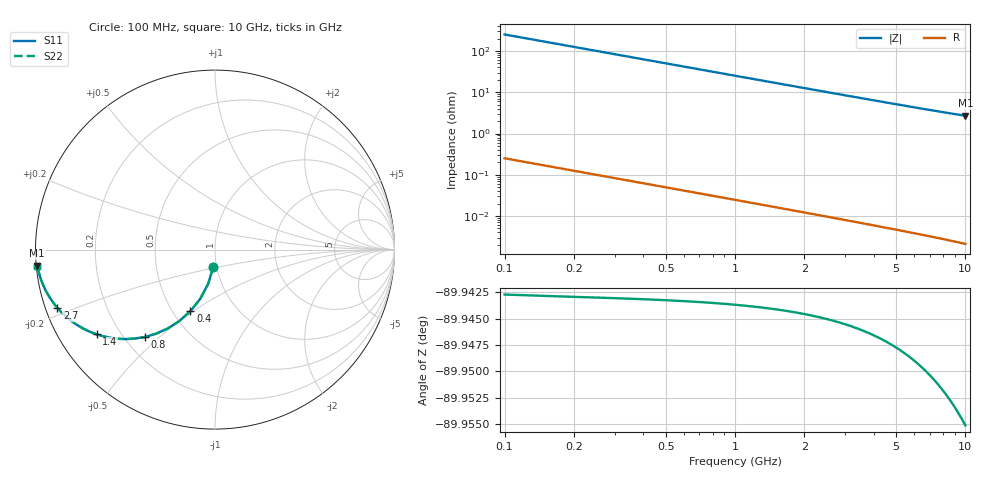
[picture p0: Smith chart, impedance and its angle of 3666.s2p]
# Hz S RI R 50.00
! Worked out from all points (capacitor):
!   100 points, 100 MHz to 10 GHz, reference 50 ohm
!   read as one part in shunt: C = 6.34 pF near 100 MHz
!   lowest |Z| = 2.69 ohm at 10 GHz (marker M1)
!   S11 on the Smith chart (normalised r, x): 100 MHz: 0.96, -0.19; 400 MHz: 0.61, -0.49; 800 MHz: 0.28, -0.45; 1.4 GHz: 0.11, -0.32; 2.7 GHz: 0.03, -0.18; 10 GHz: 0.00, -0.04
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1e8  -0.0099 -0.0985  0.9901 -0.0987  0.9901 -0.0987  -0.0099 -0.0985
2e8  -0.0383 -0.1914  0.9616 -0.1917  0.9616 -0.1917  -0.0383 -0.1914
3e8  -0.0822 -0.2739  0.9178 -0.2744  0.9178 -0.2744  -0.0822 -0.2739
4e8  -0.1372 -0.3432  0.8628 -0.3439  0.8628 -0.3439  -0.1372 -0.3432
5e8  -0.1989 -0.3983  0.8011 -0.3991  0.8011 -0.3991  -0.1989 -0.3983
6e8  -0.2632 -0.4394  0.7367 -0.4404  0.7367 -0.4404  -0.2632 -0.4394
7e8  -0.3271 -0.4681  0.6729 -0.4692  0.6729 -0.4692  -0.3271 -0.4681
8e8  -0.3882 -0.4862  0.6117 -0.4875  0.6117 -0.4875  -0.3882 -0.4862
9e8  -0.4453 -0.4957  0.5546 -0.4973  0.5546 -0.4973  -0.4453 -0.4957
1.1e9  -0.5451 -0.4965  0.4548 -0.4984  0.4548 -0.4984  -0.5451 -0.4965
1.2e9  -0.5877 -0.4907  0.4122 -0.4927  0.4122 -0.4927  -0.5877 -0.4907
1.4e9  -0.6597 -0.4721  0.3402 -0.4745  0.3402 -0.4745  -0.6597 -0.4721
1.6e9  -0.7168 -0.4487  0.2832 -0.4514  0.2832 -0.4514  -0.7168 -0.4487
1.8e9  -0.762 -0.4238  0.238 -0.4269  0.238 -0.4269  -0.762 -0.4238
2.2e9  -0.8269 -0.376  0.1731 -0.3797  0.1731 -0.3797  -0.8269 -0.376
2.7e9  -0.8778 -0.3247  0.1221 -0.3292  0.1221 -0.3292  -0.8778 -0.3247
3.4e9  -0.9192 -0.269  0.0807 -0.2748  0.0807 -0.2748  -0.9192 -0.269
4.2e9  -0.9455 -0.2228  0.0544 -0.2299  0.0544 -0.2299  -0.9455 -0.2228
5.1e9  -0.9624 -0.1852  0.0375 -0.1939  0.0375 -0.1939  -0.9624 -0.1852
6.7e9  -0.9779 -0.1403  0.0219 -0.152  0.0219 -0.152  -0.9779 -0.1403
8.4e9  -0.9859 -0.1095  0.0139 -0.1243  0.0139 -0.1243  -0.9859 -0.1095
1e10  -0.9901 -0.089  0.00968 -0.1068  0.00968 -0.1068  -0.9901 -0.089
